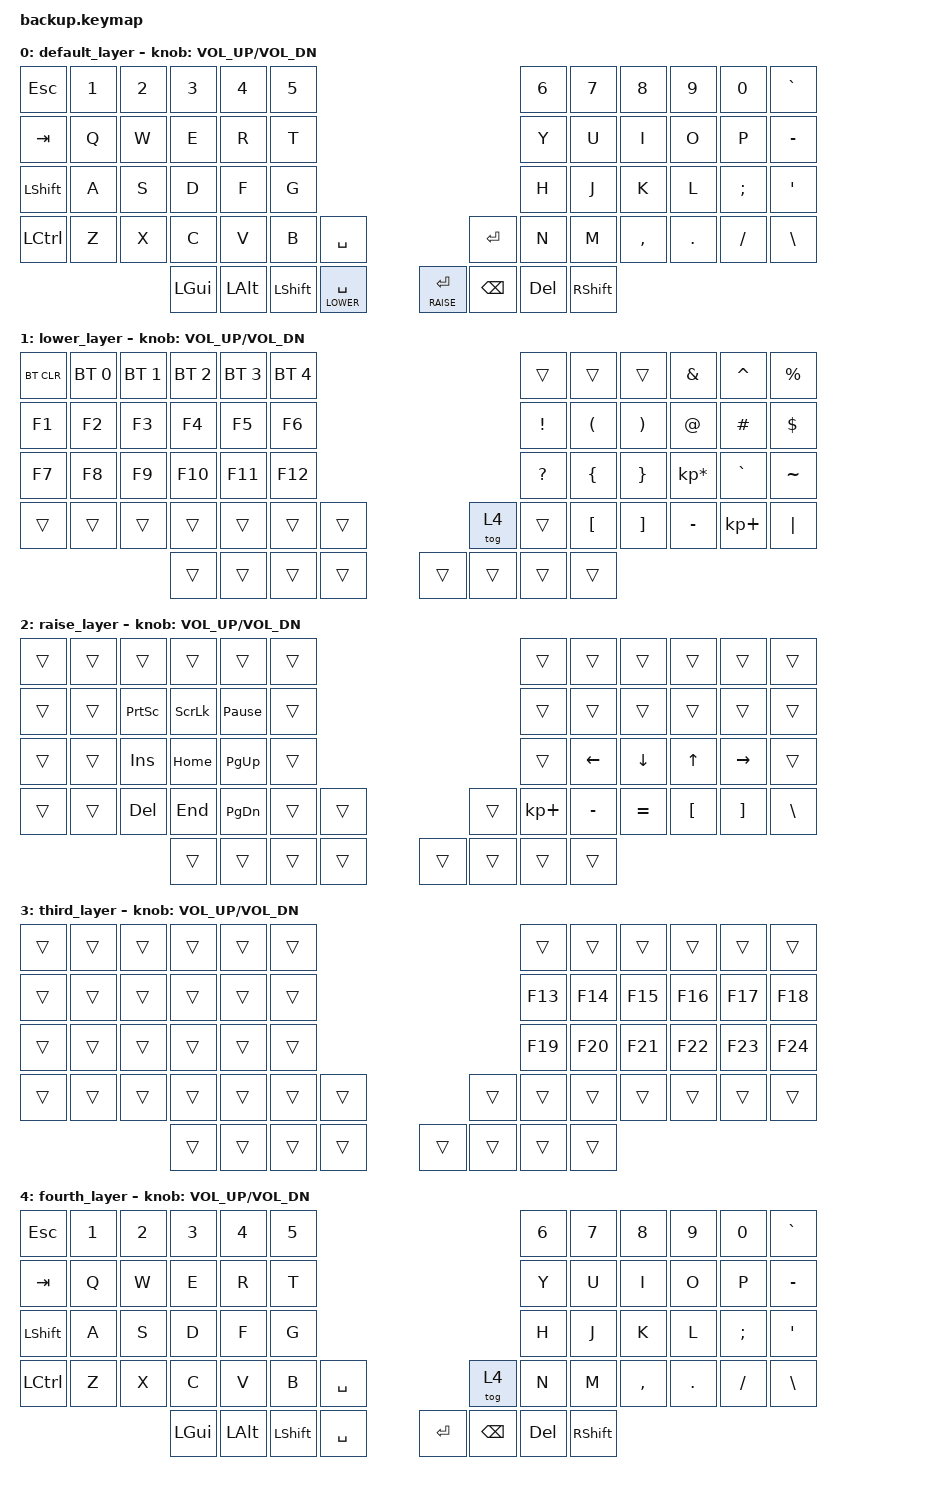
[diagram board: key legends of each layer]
/*
 * Copyright (c) 2020 The ZMK Contributors
 *
 * SPDX-License-Identifier: MIT
 */

#include <behaviors.dtsi>
#include <dt-bindings/zmk/keys.h>
#include <dt-bindings/zmk/bt.h>
#include <dt-bindings/zmk/ext_power.h>
#define DEFAULT 0
#define LOWER   1
#define RAISE   2
#define THIRD 	3
#define FOURTH 	4

/ {
	keymap {
		compatible = "zmk,keymap";

		default_layer {
// ------------------------------------------------------------------------------------------------------------
// |  ESC  |  1  |  2  |  3   |  4   |  5   |                   |  6   |  7    |  8    |  9   |   0   |   `   |
// |  TAB  |  Q  |  W  |  E   |  R   |  T   |                   |  Y   |  U    |  I    |  O   |   P   |   -   |
// | SHIFT |  A  |  S  |  D   |  F   |  G   |                   |  H   |  J    |  K    |  L   |   ;   |   '   |
// |  CTRL |  Z  |  X  |  C   |  V   |  B   | SPACE  |  | RET   |  N   |  M    |  ,    |  .   |   /   |   \   |
//                     | GUI  |  ALT | LOWER| SPACE  |  | ENTER | RAISE| BSPC  | GUI   |
			bindings = <
&kp ESC   &kp N1 &kp N2 &kp N3   &kp N4   &kp N5                     											&kp N6 		&kp N7   	&kp N8    &kp N9  &kp N0   &kp GRAVE
&kp TAB   &kp Q  &kp W  &kp E    &kp R    &kp T                      											&kp Y  		&kp U    	&kp I     &kp O   &kp P    &kp MINUS
&kp LSHFT &kp A  &kp S  &kp D    &kp F    &kp G                      											&kp H 		&kp J    	&kp K     &kp L   &kp SEMI &kp SQT
&kp LCTRL &kp Z  &kp X  &kp C    &kp V    &kp B  			&kp SPACE   				&kp RET 				&kp N  		&kp M    	&kp COMMA &kp DOT &kp FSLH &kp BSLH
                        &kp LGUI &kp LALT &kp LSHFT  	&lt LOWER SPACE  		&lt RAISE RET  	&kp BSPC  &kp DEL &kp RSHFT
			>;

			sensor-bindings = <&inc_dec_kp C_VOL_UP C_VOL_DN>;
		};

		lower_layer {
// ------------------------------------------------------------------------------------------------------------
// | BTCLR | BT1 | BT2 |  BT3 |  BT4 |  BT5 |                   |      |       |       |  &    |  ^   |   %   |
// |  F1   |  F2 |  F3 |  F4  |  F5  |  F6  |                   |  !   |  (    |  )    |  @    |  #   |   $   |
// |  F7   |  F8 |  F9 |  F10 | F11  |  F12 |                   |  ?   |  {    |  }    |  *    |  `   |   ~   |
// |       |     |     |      |      |      |        |  |       |      |  [    |  ]    |  -    |   +  |  "|"  |
//                     |      |      |      |        |  |       |      |       |       |
			bindings = <
&bt BT_CLR &bt BT_SEL 0     &bt BT_SEL 1      &bt BT_SEL 2      &bt BT_SEL 3 &bt BT_SEL 4    							&trans    &trans    &trans      &kp AMPS    		&kp CARET    	&kp PRCNT
&kp F1     &kp F2    				&kp F3    		  	&kp F4            &kp F5       &kp F6          							&kp EXCL  		&kp LPAR  &kp RPAR   	&kp AT          &kp HASH  		&kp DLLR
&kp F7     &kp F8    				&kp F9          	&kp F10          	&kp F11   	 &kp F12         							&kp QMARK 		&kp LBRC  &kp RBRC   	&kp KP_MULTIPLY &kp GRAVE 		&kp TILDE
&trans     &trans 					&trans 			  		&trans            &trans       &trans    &trans   &tog 4    &trans    &kp LBKT 	&kp RBKT		&kp MINUS 			&kp KP_PLUS   &kp PIPE
                                              &trans            &trans       &trans    &trans   &trans    &trans    	&trans    &trans
			>;
 
			sensor-bindings = <&inc_dec_kp C_VOL_UP C_VOL_DN>;
		};

		raise_layer {
// ------------------------------------------------------------------------------------------------------------
// |       |     |     |      |      |      |                   |      |       |       |      |       |       |
// |       |     |PSCRN| SLCK |PAUSE |      |                   |      |       |       |      |       |       |
// |       |     | INS | HOME |PG_UP |      |                   |      |   <-  |   v   |  ^   |  ->   |       |
// |       |     | DEL | END  |PG_DN |      |        |  |       |  +   |   -   |   =   |  [   |   ]   |   \   |
//                     |      |      |      |        |  |       |      |       |       |
			bindings = <
&trans    &trans &trans    &trans    &trans  						&trans                       	&trans      &trans    &trans    &trans   &trans    &trans
&trans 	  &trans &kp PSCRN &kp SLCK  &kp PAUSE_BREAK    &trans                       	&trans      &trans    &trans    &trans   &trans    &trans
&trans    &trans &kp INS   &kp HOME  &kp PG_UP  				&trans                       	&trans      &kp LEFT  &kp DOWN  &kp UP   &kp RIGHT &trans
&trans    &trans &kp DEL   &kp END   &kp PG_DN 					&trans   	&trans   &trans     &kp KP_PLUS &kp MINUS &kp EQUAL &kp LBKT &kp RBKT  &kp BSLH
                           &trans    &trans  						&trans    &trans   &trans    	&trans      &trans    &trans
			>;

			sensor-bindings = <&inc_dec_kp C_VOL_UP C_VOL_DN>;
		};

		third_layer {
// ------------------------------------------------------------------------------------------------------------
// |       |     |     |      |      |      |                   |      |       |       |      |       |       |
// |       |     |     |      |      |      |                   | F13  |  F14  | F15   |  F16 |  F17  |  F18  |
// |       |     |     |      |      |      |                   | F19  |  F20  | F21   |  F22 |  F23  |  F24  |
// |       |     |     |      |      |      |        |  |       |      |       |       |      |       |       |
//                     |      |      |      |        |  |       |      |       |       |
			bindings = <
&trans    &trans &trans &trans  &trans  &trans                       &trans      &trans    &trans    &trans   &trans    &trans
&trans    &trans &trans &trans  &trans  &trans                       &kp F13     &kp F14   &kp F15   &kp F16  &kp F17   &kp F18
&trans    &trans &trans &trans  &trans  &trans                       &kp F19     &kp F20   &kp F21   &kp F22  &kp F23   &kp F24
&trans    &trans &trans &trans  &trans  &trans    &trans   &trans    &trans      &trans    &trans    &trans   &trans    &trans
                        &trans  &trans  &trans    &trans   &trans    &trans      &trans    &trans
			>;

			sensor-bindings = <&inc_dec_kp C_VOL_UP C_VOL_DN>;
		};

		fourth_layer {
// ------------------------------------------------------------------------------------------------------------
// |  ESC  |  1  |  2  |  3   |  4   |  5   |                   |  6   |  7    |  8    |  9   |   0   |   `   |
// |  TAB  |  Q  |  W  |  E   |  R   |  T   |                   |  Y   |  U    |  I    |  O   |   P   |   -   |
// | SHIFT |  A  |  S  |  D   |  F   |  G   |                   |  H   |  J    |  K    |  L   |   ;   |   '   |
// |  CTRL |  Z  |  X  |  C   |  V   |  B   |   "["  |  |  1  	|  N   |  M    |  ,    |  .   |   /   |   \   |
//                     | GUI  |  ALT | LOWER| SPACE  |  | ENTER | RAISE| BSPC  | GUI   |
			bindings = <
&kp ESC   &kp N1 &kp N2 &kp N3   &kp N4   &kp N5                     									&kp N6 		&kp N7   	&kp N8    &kp N9  &kp N0   &kp GRAVE
&kp TAB   &kp Q  &kp W  &kp E    &kp R    &kp T                      									&kp Y  		&kp U    	&kp I     &kp O   &kp P    &kp MINUS
&kp LSHFT &kp A  &kp S  &kp D    &kp F    &kp G                      									&kp H 		&kp J    	&kp K     &kp L   &kp SEMI &kp SQT
&kp LCTRL &kp Z  &kp X  &kp C    &kp V    &kp B  			&kp SPACE   		&tog 4 					&kp N  		&kp M    	&kp COMMA &kp DOT &kp FSLH &kp BSLH
                        &kp LGUI &kp LALT &kp LSHFT  	&kp SPACE  			&kp RET  				&kp BSPC  &kp DEL &kp RSHFT
			>;

			sensor-bindings = <&inc_dec_kp C_VOL_UP C_VOL_DN>;
		};
	};
};
